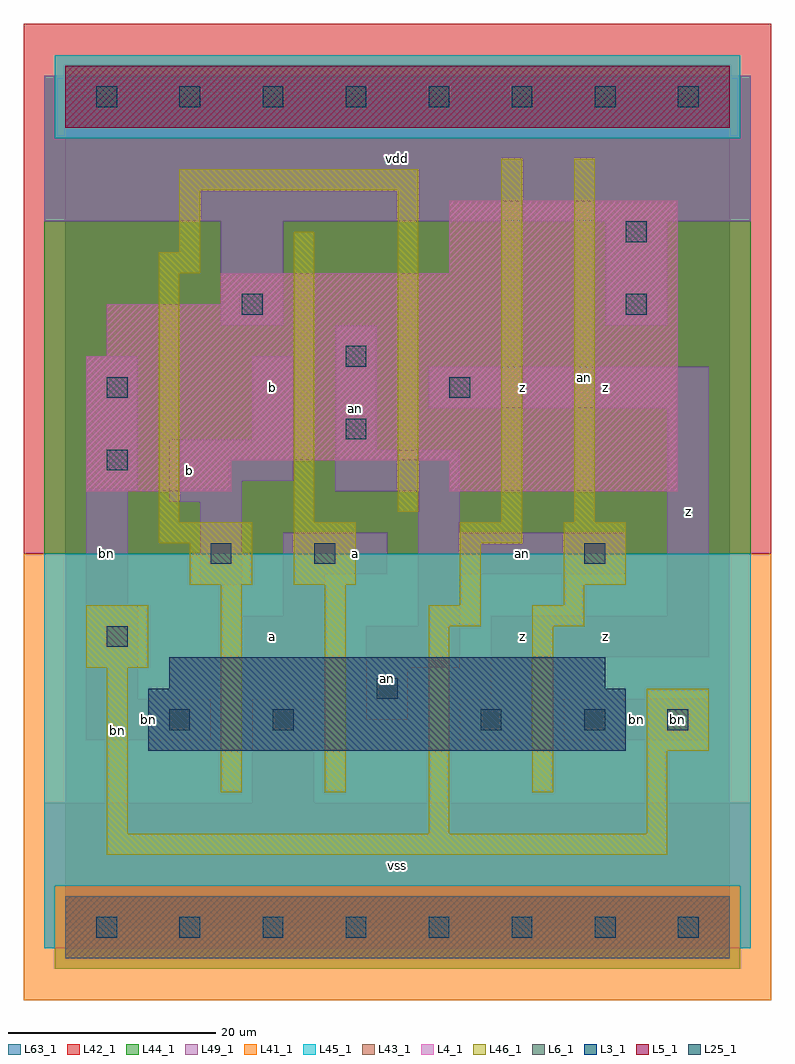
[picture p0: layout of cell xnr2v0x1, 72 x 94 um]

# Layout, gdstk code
import gdstk
lib = gdstk.Library(unit=1e-6, precision=1e-09)
def R(c, l, rs):  # rectangles x0, y0, x1, y1
    for r in rs: c.add(gdstk.rectangle(r[:2], r[2:], *l))
def A(c, l, x, y, w, h, nx, ny, dx, dy):  # array of equal rectangles
    R(c, l, [(x+i*dx, y+j*dy, x+i*dx+w, y+j*dy+h) for i in range(nx) for j in range(ny)])
L3_1 = (3, 1)
L4_1 = (4, 1)
L5_1 = (5, 1)
L6_1 = (6, 1)
L25_1 = (25, 1)
L41_1 = (41, 1)
L42_1 = (42, 1)
L43_1 = (43, 1)
L44_1 = (44, 1)
L45_1 = (45, 1)
L46_1 = (46, 1)
L49_1 = (49, 1)
L63_1 = (63, 1)

xnr2v0x1 = lib.new_cell('xnr2v0x1')
R(xnr2v0x1, L3_1, [(8,17,54,23), (10,23,52,26)])
R(xnr2v0x1, L4_1, [(2,42,16,45), (37,42,59,45), (2,45,59,55), (4,55,59,60), (15,60,59,63), (37,63,59,70)])
R(xnr2v0x1, L5_1, [(0,77,64,83)])
R(xnr2v0x1, L6_1, [(0,-3,64,3), (0,-3,64,3)])
A(xnr2v0x1, L25_1, 3, -1, 2, 2, 8, 2, 8, 80)
R(xnr2v0x1, L25_1, [(10,19,12,21), (20,19,22,21), (40,19,42,21), (50,19,52,21), (58,19,60,21), (30,22,32,24), (4,27,6,29), (14,35,16,37), (24,35,26,37), (50,35,52,37), (4,44,6,46), (27,47,29,49), (4,51,6,53), (37,51,39,53), (27,54,29,56), (17,59,19,61), (54,59,56,61), (54,66,56,68)])
R(xnr2v0x1, L41_1, [(-4,-7,68,36)])
R(xnr2v0x1, L42_1, [(-4,36,68,87)])
R(xnr2v0x1, L43_1, [(0,-3,64,3), (8,17,54,23), (10,23,52,26), (2,42,16,45), (37,42,59,45), (2,45,59,55), (4,55,59,60), (15,60,59,63), (37,63,59,70), (0,77,64,83)])
R(xnr2v0x1, L44_1, [(-1,-4,65,4), (-2,36,66,76), (-2,76,-1,82), (65,76,66,82)])
R(xnr2v0x1, L45_1, [(-2,-2,-1,4), (65,-2,66,4), (-2,4,66,36), (-1,76,65,84)])
R(xnr2v0x1, L46_1, [(4,7,58,9), (4,9,6,25), (35,9,37,29), (56,9,58,17), (15,13,17,33), (25,13,27,33), (45,13,47,29), (56,17,62,23), (2,25,8,31), (35,29,40,31), (45,29,50,31), (38,31,40,37), (48,31,50,33), (12,33,18,37), (22,33,28,39), (48,33,54,39), (9,37,18,39), (38,37,44,39), (9,39,11,63), (22,39,24,67), (42,39,44,74), (49,39,51,74), (32,40,34,71), (9,63,13,65), (11,65,13,71), (11,71,34,73)])
R(xnr2v0x1, L49_1, [(-2,-2,66,12), (18,12,24,22), (2,18,14,22), (38,18,45,22), (48,18,62,22), (29,20,33,25), (2,22,7,31), (41,22,45,26), (29,25,38,29), (17,26,25,30), (41,26,62,30), (34,29,38,34), (21,30,25,34), (58,30,62,50), (2,31,6,42), (13,33,17,41), (21,34,31,38), (34,34,54,38), (34,38,38,42), (10,41,17,43), (2,42,7,55), (26,42,38,46), (10,43,22,47), (26,46,30,58), (18,47,22,55), (35,50,62,54), (15,58,21,68), (52,58,58,68), (-2,68,66,82)])
R(xnr2v0x1, L63_1, [(0,0,64,80)])
xnr2v0x1.add(gdstk.Label('bn', (5,19), layer=46, texttype=1))
xnr2v0x1.add(gdstk.Label('bn', (59,20), layer=49, texttype=1))
xnr2v0x1.add(gdstk.Label('an', (50,53), layer=46, texttype=1))
xnr2v0x1.add(gdstk.Label('bn', (4,36), layer=49, texttype=1))
xnr2v0x1.add(gdstk.Label('bn', (8,20), layer=49, texttype=1))
xnr2v0x1.add(gdstk.Label('a', (20,28), layer=49, texttype=1))
xnr2v0x1.add(gdstk.Label('b', (12,44), layer=49, texttype=1))
xnr2v0x1.add(gdstk.Label('b', (20,52), layer=49, texttype=1))
xnr2v0x1.add(gdstk.Label('vss', (32,6), layer=49, texttype=1))
xnr2v0x1.add(gdstk.Label('an', (31,24), layer=49, texttype=1))
xnr2v0x1.add(gdstk.Label('a', (28,36), layer=49, texttype=1))
xnr2v0x1.add(gdstk.Label('an', (28,50), layer=49, texttype=1))
xnr2v0x1.add(gdstk.Label('vdd', (32,74), layer=49, texttype=1))
xnr2v0x1.add(gdstk.Label('z', (44,28), layer=49, texttype=1))
xnr2v0x1.add(gdstk.Label('z', (44,52), layer=49, texttype=1))
xnr2v0x1.add(gdstk.Label('z', (52,28), layer=49, texttype=1))
xnr2v0x1.add(gdstk.Label('bn', (55,20), layer=49, texttype=1))
xnr2v0x1.add(gdstk.Label('an', (44,36), layer=49, texttype=1))
xnr2v0x1.add(gdstk.Label('z', (60,40), layer=49, texttype=1))
xnr2v0x1.add(gdstk.Label('z', (52,52), layer=49, texttype=1))

lib.write_gds('xnr2v0x1.gds')
